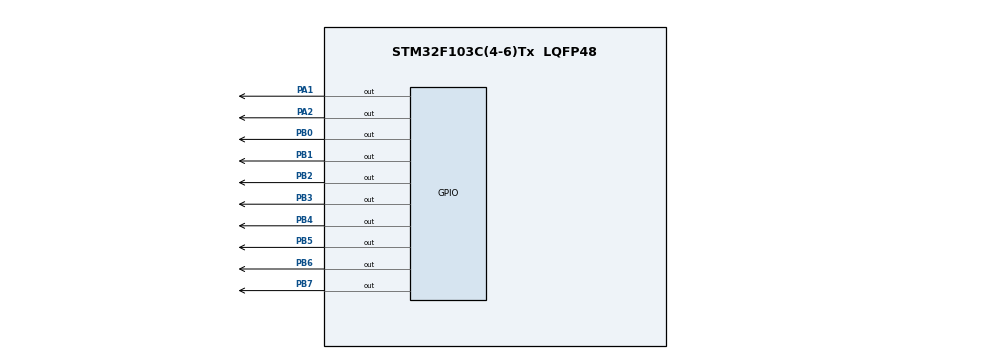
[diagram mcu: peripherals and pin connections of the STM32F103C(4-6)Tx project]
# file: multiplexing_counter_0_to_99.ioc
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Mcu.Family=STM32F1
Mcu.Name=STM32F103C(4-6)Tx
Mcu.Package=LQFP48
NVIC.PriorityGroup=NVIC_PRIORITYGROUP_4
PA1.PinState=GPIO_PIN_SET
PA1.Signal=GPIO_Output
PA2.PinState=GPIO_PIN_SET
PA2.Signal=GPIO_Output
PB0.PinState=GPIO_PIN_RESET
PB0.Signal=GPIO_Output
PB1.PinState=GPIO_PIN_RESET
PB1.Signal=GPIO_Output
PB2.PinState=GPIO_PIN_RESET
PB2.Signal=GPIO_Output
PB3.PinState=GPIO_PIN_RESET
PB3.Signal=GPIO_Output
PB4.PinState=GPIO_PIN_RESET
PB4.Signal=GPIO_Output
PB5.PinState=GPIO_PIN_RESET
PB5.Signal=GPIO_Output
PB6.PinState=GPIO_PIN_RESET
PB6.Signal=GPIO_Output
PB7.PinState=GPIO_PIN_RESET
PB7.Signal=GPIO_Output
ProjectManager.HeapSize=0x200
ProjectManager.StackSize=0x400
ProjectManager.TargetToolchain=STM32CubeIDE
RCC.APB1Freq_Value=8000000
RCC.APB2Freq_Value=8000000
board=custom

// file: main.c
/* USER CODE BEGIN Header */
/**
  ******************************************************************************
  * @file           : main.c
  * @brief          : Main program body
  ******************************************************************************
  * @attention
  *
  * Copyright (c) 2023 STMicroelectronics.
  * All rights reserved.
  *
  * This software is licensed under terms that can be found in the LICENSE file
  * in the root directory of this software component.
  * If no LICENSE file comes with this software, it is provided AS-IS.
  *
  ******************************************************************************
  */
/* USER CODE END Header */
#include "main.h"

void SystemClock_Config(void);
static void MX_GPIO_Init(void);

int main(void)
{
  /* USER CODE BEGIN 1 */
	int i=0;
	int j=0;
	int value[10]={0x3F, 0x06, 0x5B, 0x4F, 0x66, 0x6D, 0x7D, 0x07, 0x7F, 0x6F};
  /* USER CODE END 1 */

  /* MCU Configuration--------------------------------------------------------*/

  /* Reset of all peripherals, Initializes the Flash interface and the Systick. */
  HAL_Init();

  /* Configure the system clock */
  SystemClock_Config();

  /* Initialize all configured peripherals */
  MX_GPIO_Init();

  /* Infinite loop */
  while (1)
  {

    /* USER CODE BEGIN 3 */
   // HAL_Delay(100);
	  if(i>9){
	  		  i = 0;
	  		  j++;
	  	  }
	  if(j>9){
			  j=0;
		  }
    for(int a=0;a<40;a++){
    HAL_GPIO_WritePin(GPIOB, 0XFF, GPIO_PIN_RESET);
	HAL_GPIO_WritePin(GPIOB, value[i], GPIO_PIN_SET);
	HAL_Delay(20);

	HAL_GPIO_WritePin(GPIOA, GPIO_PIN_1, GPIO_PIN_RESET);
	HAL_GPIO_WritePin(GPIOA, GPIO_PIN_2, GPIO_PIN_SET);

	HAL_GPIO_WritePin(GPIOB, 0XFF, GPIO_PIN_RESET);
	HAL_GPIO_WritePin(GPIOB, value[j], GPIO_PIN_SET);
	HAL_Delay(20);
	HAL_GPIO_WritePin(GPIOA, GPIO_PIN_2, GPIO_PIN_RESET);
	HAL_GPIO_WritePin(GPIOA, GPIO_PIN_1, GPIO_PIN_SET);}
	//HAL_Delay(200);

    i++;

  }
  /* USER CODE END 3 */
}

void SystemClock_Config(void)
{
  RCC_OscInitTypeDef RCC_OscInitStruct = {0};
  RCC_ClkInitTypeDef RCC_ClkInitStruct = {0};

  /** Initializes the RCC Oscillators according to the specified parameters
  * in the RCC_OscInitTypeDef structure.
  */
  RCC_OscInitStruct.OscillatorType = RCC_OSCILLATORTYPE_HSI;
  RCC_OscInitStruct.HSIState = RCC_HSI_ON;
  RCC_OscInitStruct.HSICalibrationValue = RCC_HSICALIBRATION_DEFAULT;
  RCC_OscInitStruct.PLL.PLLState = RCC_PLL_NONE;
  if (HAL_RCC_OscConfig(&RCC_OscInitStruct) != HAL_OK)
  {
    Error_Handler();
  }

  /** Initializes the CPU, AHB and APB buses clocks
  */
  RCC_ClkInitStruct.ClockType = RCC_CLOCKTYPE_HCLK|RCC_CLOCKTYPE_SYSCLK
                              |RCC_CLOCKTYPE_PCLK1|RCC_CLOCKTYPE_PCLK2;
  RCC_ClkInitStruct.SYSCLKSource = RCC_SYSCLKSOURCE_HSI;
  RCC_ClkInitStruct.AHBCLKDivider = RCC_SYSCLK_DIV1;
  RCC_ClkInitStruct.APB1CLKDivider = RCC_HCLK_DIV1;
  RCC_ClkInitStruct.APB2CLKDivider = RCC_HCLK_DIV1;

  if (HAL_RCC_ClockConfig(&RCC_ClkInitStruct, FLASH_LATENCY_0) != HAL_OK)
  {
    Error_Handler();
  }
}

static void MX_GPIO_Init(void)
{
  GPIO_InitTypeDef GPIO_InitStruct = {0};

  /* GPIO Ports Clock Enable */
  __HAL_RCC_GPIOA_CLK_ENABLE();
  __HAL_RCC_GPIOB_CLK_ENABLE();

  /*Configure GPIO pin Output Level */
  HAL_GPIO_WritePin(GPIOA, GPIO_PIN_1|GPIO_PIN_2, GPIO_PIN_SET);

  /*Configure GPIO pin Output Level */
  HAL_GPIO_WritePin(GPIOB, GPIO_PIN_0|GPIO_PIN_1|GPIO_PIN_2|GPIO_PIN_3
                          |GPIO_PIN_4|GPIO_PIN_5|GPIO_PIN_6|GPIO_PIN_7, GPIO_PIN_RESET);

  /*Configure GPIO pins : PA1 PA2 */
  GPIO_InitStruct.Pin = GPIO_PIN_1|GPIO_PIN_2;
  GPIO_InitStruct.Mode = GPIO_MODE_OUTPUT_PP;
  GPIO_InitStruct.Pull = GPIO_NOPULL;
  GPIO_InitStruct.Speed = GPIO_SPEED_FREQ_LOW;
  HAL_GPIO_Init(GPIOA, &GPIO_InitStruct);

  /*Configure GPIO pins : PB0 PB1 PB2 PB3
                           PB4 PB5 PB6 PB7 */
  GPIO_InitStruct.Pin = GPIO_PIN_0|GPIO_PIN_1|GPIO_PIN_2|GPIO_PIN_3
                          |GPIO_PIN_4|GPIO_PIN_5|GPIO_PIN_6|GPIO_PIN_7;
  GPIO_InitStruct.Mode = GPIO_MODE_OUTPUT_PP;
  GPIO_InitStruct.Pull = GPIO_NOPULL;
  GPIO_InitStruct.Speed = GPIO_SPEED_FREQ_LOW;
  HAL_GPIO_Init(GPIOB, &GPIO_InitStruct);

}

void Error_Handler(void)
{
  __disable_irq();
  while (1)
  {
  }
}
